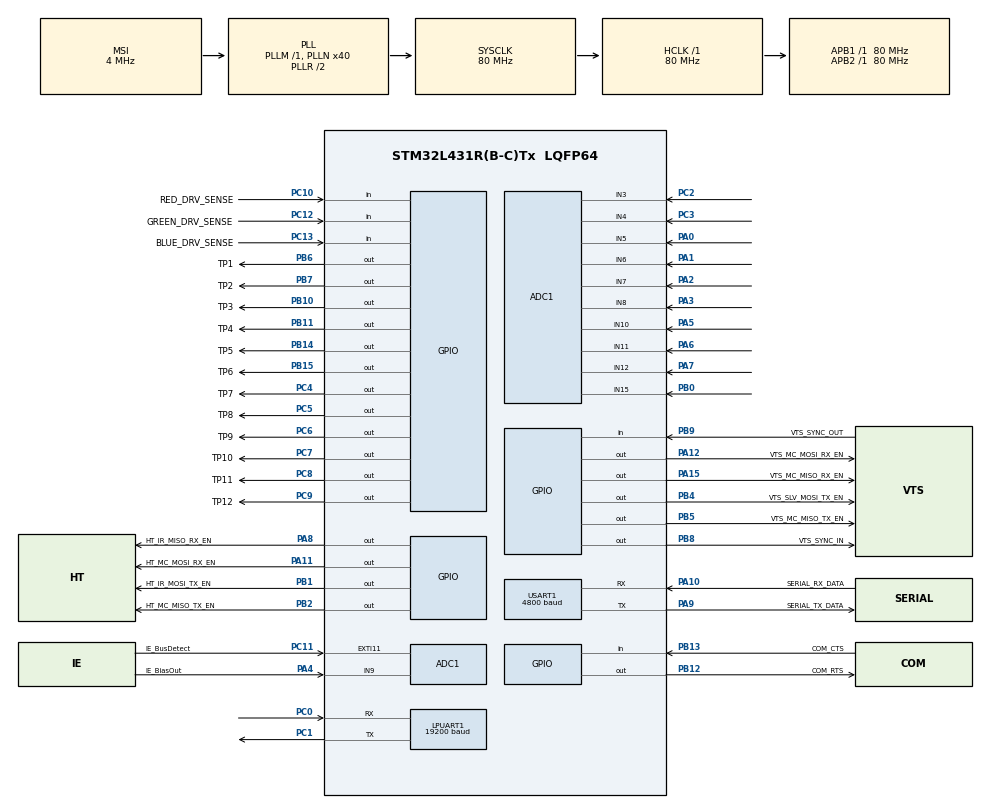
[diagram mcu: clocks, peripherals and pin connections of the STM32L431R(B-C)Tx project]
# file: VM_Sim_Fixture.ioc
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ADC1.Channel-0\#ChannelRegularConversion=ADC_CHANNEL_VBAT
ADC1.ClockPrescaler=ADC_CLOCK_ASYNC_DIV6
ADC1.ContinuousConvMode=ENABLE
ADC1.DMAContinuousRequests=DISABLE
ADC1.EOCSelection=ADC_EOC_SEQ_CONV
ADC1.NbrOfConversion=1
ADC1.NbrOfConversionFlag=1
ADC1.OffsetNumber-0\#ChannelRegularConversion=ADC_OFFSET_NONE
ADC1.Overrun=ADC_OVR_DATA_OVERWRITTEN
ADC1.Rank-0\#ChannelRegularConversion=1
ADC1.SamplingTime-0\#ChannelRegularConversion=ADC_SAMPLETIME_640CYCLES_5
ADC1.master=1
Dma.ADC1.4.Direction=DMA_PERIPH_TO_MEMORY
Dma.ADC1.4.Instance=DMA1_Channel1
Dma.ADC1.4.MemDataAlignment=DMA_MDATAALIGN_HALFWORD
Dma.ADC1.4.MemInc=DMA_MINC_ENABLE
Dma.ADC1.4.Mode=DMA_NORMAL
Dma.ADC1.4.PeriphDataAlignment=DMA_PDATAALIGN_HALFWORD
Dma.ADC1.4.PeriphInc=DMA_PINC_DISABLE
Dma.ADC1.4.Priority=DMA_PRIORITY_LOW
Dma.LPUART_RX.1.Direction=DMA_PERIPH_TO_MEMORY
Dma.LPUART_RX.1.Instance=DMA2_Channel7
Dma.LPUART_RX.1.MemDataAlignment=DMA_MDATAALIGN_BYTE
Dma.LPUART_RX.1.MemInc=DMA_MINC_ENABLE
Dma.LPUART_RX.1.Mode=DMA_CIRCULAR
Dma.LPUART_RX.1.PeriphDataAlignment=DMA_PDATAALIGN_BYTE
Dma.LPUART_RX.1.PeriphInc=DMA_PINC_DISABLE
Dma.LPUART_RX.1.Priority=DMA_PRIORITY_LOW
Dma.LPUART_TX.2.Direction=DMA_MEMORY_TO_PERIPH
Dma.LPUART_TX.2.Instance=DMA2_Channel6
Dma.LPUART_TX.2.MemDataAlignment=DMA_MDATAALIGN_BYTE
Dma.LPUART_TX.2.MemInc=DMA_MINC_ENABLE
Dma.LPUART_TX.2.Mode=DMA_NORMAL
Dma.LPUART_TX.2.PeriphDataAlignment=DMA_PDATAALIGN_BYTE
Dma.LPUART_TX.2.PeriphInc=DMA_PINC_DISABLE
Dma.LPUART_TX.2.Priority=DMA_PRIORITY_LOW
Dma.Request0=USART1_TX
Dma.Request1=LPUART_RX
Dma.Request2=LPUART_TX
Dma.Request3=USART1_RX
Dma.Request4=ADC1
Dma.USART1_RX.3.Direction=DMA_PERIPH_TO_MEMORY
Dma.USART1_RX.3.Instance=DMA1_Channel5
Dma.USART1_RX.3.MemDataAlignment=DMA_MDATAALIGN_BYTE
Dma.USART1_RX.3.MemInc=DMA_MINC_ENABLE
Dma.USART1_RX.3.Mode=DMA_NORMAL
Dma.USART1_RX.3.PeriphDataAlignment=DMA_PDATAALIGN_BYTE
Dma.USART1_RX.3.PeriphInc=DMA_PINC_DISABLE
Dma.USART1_RX.3.Priority=DMA_PRIORITY_LOW
Dma.USART1_TX.0.Direction=DMA_MEMORY_TO_PERIPH
Dma.USART1_TX.0.Instance=DMA1_Channel4
Dma.USART1_TX.0.MemDataAlignment=DMA_MDATAALIGN_BYTE
Dma.USART1_TX.0.MemInc=DMA_MINC_ENABLE
Dma.USART1_TX.0.Mode=DMA_NORMAL
Dma.USART1_TX.0.PeriphDataAlignment=DMA_PDATAALIGN_BYTE
Dma.USART1_TX.0.PeriphInc=DMA_PINC_DISABLE
Dma.USART1_TX.0.Priority=DMA_PRIORITY_LOW
FREERTOS.Tasks01=protocolTask,24,400,StartProtocolTask,Default,NULL,Dynamic,NULL,NULL;frameTask,24,400,StartFrameTask,Default,NULL,Dynamic,NULL,NULL
FREERTOS.configMINIMAL_STACK_SIZE=400
FREERTOS.configTOTAL_HEAP_SIZE=5000
FREERTOS.configUSE_NEWLIB_REENTRANT=1
LPUART1.BaudRate=19200
LPUART1.Parity=UART_PARITY_EVEN
LPUART1.WordLength=UART_WORDLENGTH_9B
Mcu.Family=STM32L4
Mcu.Name=STM32L431R(B-C)Tx
Mcu.Package=LQFP64
NVIC.ADC1_IRQn=true\:5\:0\:false\:false\:true\:true\:true\:true\:true
NVIC.DMA1_Channel1_IRQn=true\:5\:0\:false\:false\:true\:true\:false\:true\:true
NVIC.DMA1_Channel4_IRQn=true\:5\:0\:false\:false\:true\:true\:false\:true\:true
NVIC.DMA1_Channel5_IRQn=true\:5\:0\:false\:false\:true\:true\:false\:true\:true
NVIC.DMA2_Channel6_IRQn=true\:5\:0\:false\:false\:true\:true\:false\:true\:true
NVIC.DMA2_Channel7_IRQn=true\:5\:0\:false\:false\:true\:true\:false\:true\:true
NVIC.LPUART1_IRQn=true\:5\:0\:false\:false\:true\:true\:true\:true\:true
NVIC.PriorityGroup=NVIC_PRIORITYGROUP_4
NVIC.TIM1_BRK_TIM15_IRQn=true\:5\:0\:false\:false\:true\:true\:true\:true\:true
NVIC.TIM2_IRQn=true\:5\:0\:true\:false\:true\:true\:true\:true\:true
NVIC.TIM6_DAC_IRQn=true\:5\:0\:false\:false\:true\:true\:true\:true\:true
NVIC.TIM7_IRQn=true\:15\:0\:false\:false\:true\:false\:false\:true\:true
NVIC.TimeBase=TIM7_IRQn
NVIC.TimeBaseIP=TIM7
NVIC.USART1_IRQn=true\:5\:0\:false\:false\:true\:true\:true\:true\:true
PA0.Signal=ADCx_IN5
PA1.Signal=ADCx_IN6
PA10.GPIO_Label=SERIAL_RX_DATA
PA10.Mode=Asynchronous
PA10.Signal=USART1_RX
PA11.GPIO_Label=HT_MC_MOSI_RX_EN
PA11.Signal=GPIO_Output
PA12.GPIO_Label=VTS_MC_MOSI_RX_EN
PA12.GPIO_ModeDefaultOutputPP=GPIO_MODE_OUTPUT_PP
PA12.GPIO_PuPd=GPIO_NOPULL
PA12.GPIO_Speed=GPIO_SPEED_FREQ_MEDIUM
PA12.PinState=GPIO_PIN_SET
PA12.Signal=GPIO_Output
PA13\ (JTMS-SWDIO).Mode=Trace_Asynchronous_SW
PA13\ (JTMS-SWDIO).Signal=SYS_JTMS-SWDIO
PA14\ (JTCK-SWCLK).Mode=Trace_Asynchronous_SW
PA14\ (JTCK-SWCLK).Signal=SYS_JTCK-SWCLK
PA15\ (JTDI).GPIO_Label=VTS_MC_MISO_RX_EN
PA15\ (JTDI).Signal=GPIO_Output
PA2.Signal=ADCx_IN7
PA3.Signal=ADCx_IN8
PA4.GPIO_Label=IE_BiasOut
PA4.Signal=SharedAnalog_PA4
PA5.Signal=ADCx_IN10
PA6.Signal=ADCx_IN11
PA7.Signal=ADCx_IN12
PA8.GPIO_Label=HT_IR_MISO_RX_EN
PA8.Signal=GPIO_Output
PA9.GPIO_Label=SERIAL_TX_DATA
PA9.Mode=Asynchronous
PA9.Signal=USART1_TX
PB0.Signal=ADCx_IN15
PB1.GPIO_Label=HT_IR_MOSI_TX_EN
PB1.Signal=GPIO_Output
PB10.GPIO_Label=TP3
PB10.GPIO_ModeDefaultOutputPP=GPIO_MODE_OUTPUT_PP
PB10.PinState=GPIO_PIN_SET
PB10.Signal=GPIO_Output
PB11.GPIO_Label=TP4
PB11.GPIO_ModeDefaultOutputPP=GPIO_MODE_OUTPUT_PP
PB11.PinState=GPIO_PIN_SET
PB11.Signal=GPIO_Output
PB12.GPIO_Label=COM_RTS
PB12.GPIO_ModeDefaultOutputPP=GPIO_MODE_OUTPUT_PP
PB12.PinState=GPIO_PIN_SET
PB12.Signal=GPIO_Output
PB13.GPIO_Label=COM_CTS
PB13.Signal=GPIO_Input
PB14.GPIO_Label=TP5
PB14.GPIO_ModeDefaultOutputPP=GPIO_MODE_OUTPUT_PP
PB14.PinState=GPIO_PIN_SET
PB14.Signal=GPIO_Output
PB15.GPIO_Label=TP6
PB15.GPIO_ModeDefaultOutputPP=GPIO_MODE_OUTPUT_PP
PB15.PinState=GPIO_PIN_SET
PB15.Signal=GPIO_Output
PB2.GPIO_Label=HT_MC_MISO_TX_EN
PB2.Signal=GPIO_Output
PB3\ (JTDO-TRACESWO).Mode=Trace_Asynchronous_SW
PB3\ (JTDO-TRACESWO).Signal=SYS_JTDO-SWO
PB4\ (NJTRST).GPIO_Label=VTS_SLV_MOSI_TX_EN
PB4\ (NJTRST).Signal=GPIO_Output
PB5.GPIO_Label=VTS_MC_MISO_TX_EN
PB5.Signal=GPIO_Output
PB6.GPIO_Label=TP1
PB6.GPIO_ModeDefaultOutputPP=GPIO_MODE_OUTPUT_PP
PB6.PinState=GPIO_PIN_SET
PB6.Signal=GPIO_Output
PB7.GPIO_Label=TP2
PB7.GPIO_ModeDefaultOutputPP=GPIO_MODE_OUTPUT_PP
PB7.PinState=GPIO_PIN_SET
PB7.Signal=GPIO_Output
PB8.GPIO_Label=VTS_SYNC_IN
PB8.Signal=GPIO_Output
PB9.GPIO_Label=VTS_SYNC_OUT
PB9.Signal=GPIO_Input
PC0.Mode=Asynchronous
PC0.Signal=LPUART1_RX
PC1.GPIO_PuPd=GPIO_NOPULL
PC1.Mode=Asynchronous
PC1.Signal=LPUART1_TX
PC10.GPIO_Label=RED_DRV_SENSE
PC10.Signal=GPIO_Input
PC11.GPIO_Label=IE_BusDetect
PC11.Signal=GPXTI11
PC12.GPIO_Label=GREEN_DRV_SENSE
PC12.Signal=GPIO_Input
PC13.GPIO_Label=BLUE_DRV_SENSE
PC13.Signal=GPIO_Input
PC14-OSC32_IN\ (PC14).Mode=LSE-External-Oscillator
PC14-OSC32_IN\ (PC14).Signal=RCC_OSC32_IN
PC15-OSC32_OUT\ (PC15).Mode=LSE-External-Oscillator
PC15-OSC32_OUT\ (PC15).Signal=RCC_OSC32_OUT
PC2.Signal=ADCx_IN3
PC3.Signal=ADCx_IN4
PC4.GPIO_Label=TP7
PC4.GPIO_ModeDefaultOutputPP=GPIO_MODE_OUTPUT_PP
PC4.PinState=GPIO_PIN_SET
PC4.Signal=GPIO_Output
PC5.GPIO_Label=TP8
PC5.GPIO_ModeDefaultOutputPP=GPIO_MODE_OUTPUT_PP
PC5.PinState=GPIO_PIN_SET
PC5.Signal=GPIO_Output
PC6.GPIO_Label=TP9
PC6.GPIO_ModeDefaultOutputPP=GPIO_MODE_OUTPUT_PP
PC6.GPIO_PuPd=GPIO_NOPULL
PC6.PinState=GPIO_PIN_SET
PC6.Signal=GPIO_Output
PC7.GPIO_Label=TP10
PC7.GPIO_ModeDefaultOutputPP=GPIO_MODE_OUTPUT_PP
PC7.GPIO_PuPd=GPIO_NOPULL
PC7.PinState=GPIO_PIN_SET
PC7.Signal=GPIO_Output
PC8.GPIO_Label=TP11
PC8.GPIO_ModeDefaultOutputPP=GPIO_MODE_OUTPUT_PP
PC8.GPIO_PuPd=GPIO_NOPULL
PC8.PinState=GPIO_PIN_SET
PC8.Signal=GPIO_Output
PC9.GPIO_Label=TP12
PC9.GPIO_ModeDefaultOutputPP=GPIO_MODE_OUTPUT_PP
PC9.GPIO_PuPd=GPIO_NOPULL
PC9.PinState=GPIO_PIN_SET
PC9.Signal=GPIO_Output
ProjectManager.HeapSize=0x200
ProjectManager.StackSize=0x400
ProjectManager.TargetToolchain=STM32CubeIDE
RCC.ADCFreq_Value=8000000
RCC.AHBFreq_Value=80000000
RCC.APB1Freq_Value=80000000
RCC.APB1TimFreq_Value=80000000
RCC.APB2Freq_Value=80000000
RCC.APB2TimFreq_Value=80000000
RCC.CortexFreq_Value=80000000
RCC.HCLKFreq_Value=80000000
RCC.HSE_VALUE=8000000
RCC.HSI48_VALUE=48000000
RCC.HSI_VALUE=16000000
RCC.LPUART1CLockSelection=RCC_LPUART1CLKSOURCE_HSI
RCC.MSIAutoCalibration=DISABLED
RCC.MSI_VALUE=4000000
RCC.PLLN=40
RCC.PLLSAI1N=16
RCC.PLLSAI1R=RCC_PLLR_DIV8
RCC.RTCClockSelection=RCC_RTCCLKSOURCE_LSE
RCC.SYSCLKFreq_VALUE=80000000
RCC.SYSCLKSource=RCC_SYSCLKSOURCE_PLLCLK
RCC.VCOOutputFreq_Value=160000000
SH.ADCx_IN10.0=ADC1_IN10,IN10-Single-Ended
SH.ADCx_IN11.0=ADC1_IN11,IN11-Single-Ended
SH.ADCx_IN12.0=ADC1_IN12,IN12-Single-Ended
SH.ADCx_IN15.0=ADC1_IN15,IN15-Single-Ended
SH.ADCx_IN3.0=ADC1_IN3,IN3-Differential
SH.ADCx_IN4.0=ADC1_IN4,IN3-Differential
SH.ADCx_IN5.0=ADC1_IN5,IN5-Single-Ended
SH.ADCx_IN6.0=ADC1_IN6,IN6-Single-Ended
SH.ADCx_IN7.0=ADC1_IN7,IN7-Single-Ended
SH.ADCx_IN8.0=ADC1_IN8,IN8-Single-Ended
SH.SharedAnalog_PA4.0=ADC1_IN9,IN9-Single-Ended
SH.SharedAnalog_PA4.1=DAC1_OUT1,DAC_OUT1
TIM1.AutoReloadPreload=TIM_AUTORELOAD_PRELOAD_ENABLE
TIM1.Period=800
TIM15.AutoReloadPreload=TIM_AUTORELOAD_PRELOAD_ENABLE
TIM15.Period=18000
TIM15.Prescaler=80
TIM2.AutoReloadPreload=TIM_AUTORELOAD_PRELOAD_DISABLE
TIM2.Period=0xffffffff
TIM2.Prescaler=80
TIM2.TIM_MasterSlaveMode=TIM_MASTERSLAVEMODE_DISABLE
TIM6.Prescaler=244
USART1.BaudRate=4800
USART1.Parity=PARITY_EVEN
USART1.SwapParam=ADVFEATURE_SWAP_ENABLE
USART1.VirtualMode-Asynchronous=VM_ASYNC
USART1.WordLength=WORDLENGTH_9B
VP_ADC1_Vbat_Input.Mode=IN-Vbat
VP_FREERTOS_VS_CMSIS_V2.Mode=CMSIS_V2
VP_RTC_VS_RTC_Activate.Mode=RTC_Enabled
VP_SYS_VS_tim7.Mode=TIM7
VP_SYS_V_PVD_IN.Mode=Mode_PVD_Int
VP_TIM15_VS_ClockSourceINT.Mode=Internal
VP_TIM1_VS_ClockSourceINT.Mode=Internal
VP_TIM2_VS_ClockSourceINT.Mode=Internal
VP_TIM6_VS_ClockSourceINT.Mode=Enable_Timer
board=custom

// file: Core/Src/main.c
/* USER CODE BEGIN Header */
/**
  ******************************************************************************
  * @file           : main.c
  * @brief          : Main program body
  ******************************************************************************
  * @attention
  *
  * <h2><center>&copy; Copyright (c) 2022 STMicroelectronics.
  * All rights reserved.</center></h2>
  *
  * This software component is licensed by ST under BSD 3-Clause license,
  * the "License"; You may not use this file except in compliance with the
  * License. You may obtain a copy of the License at:
  *                        opensource.org/licenses/BSD-3-Clause
  *
  ******************************************************************************
  */
/* USER CODE END Header */
#include "main.h"
#include "cmsis_os.h"

/* USER CODE BEGIN Includes */
#include "adc.h"
#include "ticks.h"
#include "version.h"
#include "command.h"
#include "mux.h"
#include "serial.h"
#include "response.h"
#include <string.h>
/* USER CODE END Includes */

/* USER CODE BEGIN PTD */

#if 0
#define TP_SET(pin){ tp_Set((pin)); }
#define TP_RESET(pin){ tp_Reset((pin)); }
#else
#define TP_SET(pin){  }
#define TP_RESET(pin){  }
#endif

/* USER CODE END PTD */

ADC_HandleTypeDef hadc1;
DMA_HandleTypeDef hdma_adc1;

DAC_HandleTypeDef hdac1;

UART_HandleTypeDef hlpuart1;
UART_HandleTypeDef huart1;
DMA_HandleTypeDef hdma_lpuart_rx;
DMA_HandleTypeDef hdma_lpuart_tx;
DMA_HandleTypeDef hdma_usart1_tx;
DMA_HandleTypeDef hdma_usart1_rx;

RTC_HandleTypeDef hrtc;

TIM_HandleTypeDef htim1;
TIM_HandleTypeDef htim2;
TIM_HandleTypeDef htim6;
TIM_HandleTypeDef htim15;

/* Definitions for protocolTask */
osThreadId_t protocolTaskHandle;
const osThreadAttr_t protocolTask_attributes = {
  .name = "protocolTask",
  .stack_size = 400 * 4,
  .priority = (osPriority_t) osPriorityNormal,
};
/* Definitions for frameTask */
osThreadId_t frameTaskHandle;
const osThreadAttr_t frameTask_attributes = {
  .name = "frameTask",
  .stack_size = 400 * 4,
  .priority = (osPriority_t) osPriorityNormal,
};
/* USER CODE BEGIN PV */
#define COM_INIT_TIMEOUT 300
// static bool com_initialized = false;
// static ACTIVITY_TIMER com_init_activity;

/* USER CODE END PV */

void SystemClock_Config(void);
static void MX_GPIO_Init(void);
static void MX_DMA_Init(void);
static void MX_USART1_UART_Init(void);
static void MX_TIM1_Init(void);
static void MX_TIM2_Init(void);
static void MX_TIM15_Init(void);
static void MX_LPUART1_UART_Init(void);
static void MX_RTC_Init(void);
static void MX_ADC1_Init(void);
static void MX_TIM6_Init(void);
static void MX_DAC1_Init(void);
void StartResponseServiceTask(void *argument);
void StartCommandServiceTask(void *argument);

/* USER CODE BEGIN 0 */
// this is a hack on STMCubeMX generated code for alternating using LPUART1 as gpio
__weak void EXTI0_IRQHandler(void){
  HAL_GPIO_EXTI_IRQHandler(GPIO_PIN_0);
}

__weak void EXTI9_5_IRQHandler(void)
{
    HAL_GPIO_EXTI_IRQHandler(GPIO_PIN_9);
}

void HAL_GPIO_EXTI_Callback(uint16_t GPIO_Pin)
{
    if (GPIO_Pin == GPIO_PIN_9)
    {
      ser_gpio_edge_callback(GPIO_Pin);
    }
}

// this a a Hack to handel distrbuting this gloabl to various consumers
void HAL_UART_ErrorCallback(UART_HandleTypeDef *huart){
	if(huart == &hlpuart1){
		cmd_handle_uart_error();
    resp_handle_uart_error();
	}
  else if(huart == &huart1){
    ser_handle_uart_error();
  }

}

void HAL_UART_TxCpltCallback(UART_HandleTypeDef *huart){
	if(huart == &hlpuart1){
    cmd_handle_uart_complete();
    resp_handle_uart_complete();
	}
  else if(huart == &huart1){
    ser_handle_uart_complete();
	}

}

uint8_t current_led_state = 0;

int protocol_high_water = -1;
int frame_high_water = -1;

void queryStackDepth(){
	TP_SET(TP11);
    protocol_high_water = uxTaskGetStackHighWaterMark(protocolTaskHandle);
    frame_high_water = uxTaskGetStackHighWaterMark(frameTaskHandle);
	TP_RESET(TP11);
}

void WaitAdcReady(ADC_HandleTypeDef* hadc){
  // Wait for the calibration to complete (blocking) or timeout
  ACTIVITY_TIMER waitReady;
  activity_initialize(&waitReady, 10);

	while (HAL_ADC_GetState(hadc) != HAL_ADC_STATE_READY)
  {
    if(activity_isExpired(&waitReady)){
      TP_SET(TP12);
      TP_RESET(TP12);
      break;
    }

  }
}

/* USER CODE END 0 */

int main(void)
{

  /* MCU Configuration--------------------------------------------------------*/

  /* Reset of all peripherals, Initializes the Flash interface and the Systick. */
  HAL_Init();

  /* Configure the system clock */
  SystemClock_Config();

  /* Initialize all configured peripherals */
  MX_GPIO_Init();
  MX_DMA_Init();
  MX_USART1_UART_Init();
  MX_TIM1_Init();
  MX_TIM2_Init();
  MX_TIM15_Init();
  MX_LPUART1_UART_Init();
  MX_RTC_Init();
  MX_ADC1_Init();
  MX_TIM6_Init();
  MX_DAC1_Init();
  /* USER CODE BEGIN 2 */
  TP_SET(TP10);
  /* USER CODE END 2 */

  /* Init scheduler */
  osKernelInitialize();

  /* Create the thread(s) */
  /* creation of protocolTask */
  protocolTaskHandle = osThreadNew(StartResponseServiceTask, NULL, &protocolTask_attributes);

  /* creation of frameTask */
  frameTaskHandle = osThreadNew(StartCommandServiceTask, NULL, &frameTask_attributes);

  /* Start scheduler */
  osKernelStart();

  /* We should never get here as control is now taken by the scheduler */
  /* Infinite loop */
  while (1)
  {

  }
}

void SystemClock_Config(void)
{
  RCC_OscInitTypeDef RCC_OscInitStruct = {0};
  RCC_ClkInitTypeDef RCC_ClkInitStruct = {0};

  /** Configure the main internal regulator output voltage
  */
  if (HAL_PWREx_ControlVoltageScaling(PWR_REGULATOR_VOLTAGE_SCALE1) != HAL_OK)
  {
    Error_Handler();
  }

  /** Configure LSE Drive Capability
  */
  HAL_PWR_EnableBkUpAccess();
  __HAL_RCC_LSEDRIVE_CONFIG(RCC_LSEDRIVE_LOW);

  /** Initializes the RCC Oscillators according to the specified parameters
  * in the RCC_OscInitTypeDef structure.
  */
  RCC_OscInitStruct.OscillatorType = RCC_OSCILLATORTYPE_HSI|RCC_OSCILLATORTYPE_LSE
                              |RCC_OSCILLATORTYPE_MSI;
  RCC_OscInitStruct.LSEState = RCC_LSE_ON;
  RCC_OscInitStruct.HSIState = RCC_HSI_ON;
  RCC_OscInitStruct.HSICalibrationValue = RCC_HSICALIBRATION_DEFAULT;
  RCC_OscInitStruct.MSIState = RCC_MSI_ON;
  RCC_OscInitStruct.MSICalibrationValue = 0;
  RCC_OscInitStruct.MSIClockRange = RCC_MSIRANGE_6;
  RCC_OscInitStruct.PLL.PLLState = RCC_PLL_ON;
  RCC_OscInitStruct.PLL.PLLSource = RCC_PLLSOURCE_MSI;
  RCC_OscInitStruct.PLL.PLLM = 1;
  RCC_OscInitStruct.PLL.PLLN = 40;
  RCC_OscInitStruct.PLL.PLLP = RCC_PLLP_DIV7;
  RCC_OscInitStruct.PLL.PLLQ = RCC_PLLQ_DIV2;
  RCC_OscInitStruct.PLL.PLLR = RCC_PLLR_DIV2;
  if (HAL_RCC_OscConfig(&RCC_OscInitStruct) != HAL_OK)
  {
    Error_Handler();
  }

  /** Initializes the CPU, AHB and APB buses clocks
  */
  RCC_ClkInitStruct.ClockType = RCC_CLOCKTYPE_HCLK|RCC_CLOCKTYPE_SYSCLK
                              |RCC_CLOCKTYPE_PCLK1|RCC_CLOCKTYPE_PCLK2;
  RCC_ClkInitStruct.SYSCLKSource = RCC_SYSCLKSOURCE_PLLCLK;
  RCC_ClkInitStruct.AHBCLKDivider = RCC_SYSCLK_DIV1;
  RCC_ClkInitStruct.APB1CLKDivider = RCC_HCLK_DIV1;
  RCC_ClkInitStruct.APB2CLKDivider = RCC_HCLK_DIV1;

  if (HAL_RCC_ClockConfig(&RCC_ClkInitStruct, FLASH_LATENCY_4) != HAL_OK)
  {
    Error_Handler();
  }
}

static void MX_ADC1_Init(void)
{

  ADC_ChannelConfTypeDef sConfig = {0};

  /** Common config
  */
  hadc1.Instance = ADC1;
  hadc1.Init.ClockPrescaler = ADC_CLOCK_ASYNC_DIV6;
  hadc1.Init.Resolution = ADC_RESOLUTION_12B;
  hadc1.Init.DataAlign = ADC_DATAALIGN_RIGHT;
  hadc1.Init.ScanConvMode = ADC_SCAN_DISABLE;
  hadc1.Init.EOCSelection = ADC_EOC_SEQ_CONV;
  hadc1.Init.LowPowerAutoWait = DISABLE;
  hadc1.Init.ContinuousConvMode = ENABLE;
  hadc1.Init.NbrOfConversion = 1;
  hadc1.Init.DiscontinuousConvMode = DISABLE;
  hadc1.Init.ExternalTrigConv = ADC_EXTERNALTRIG_EXT_IT11;
  hadc1.Init.ExternalTrigConvEdge = ADC_EXTERNALTRIGCONVEDGE_RISING;
  hadc1.Init.DMAContinuousRequests = DISABLE;
  hadc1.Init.Overrun = ADC_OVR_DATA_OVERWRITTEN;
  hadc1.Init.OversamplingMode = DISABLE;
  if (HAL_ADC_Init(&hadc1) != HAL_OK)
  {
    Error_Handler();
  }

  /** Configure Regular Channel
  */
  sConfig.Channel = ADC_CHANNEL_VBAT;
  sConfig.Rank = ADC_REGULAR_RANK_1;
  sConfig.SamplingTime = ADC_SAMPLETIME_640CYCLES_5;
  sConfig.SingleDiff = ADC_SINGLE_ENDED;
  sConfig.OffsetNumber = ADC_OFFSET_NONE;
  sConfig.Offset = 0;
  if (HAL_ADC_ConfigChannel(&hadc1, &sConfig) != HAL_OK)
  {
    Error_Handler();
  }
  /* USER CODE BEGIN ADC1_Init 2 */

  //HAL_ADC_MspInit(&hadc1);
  //HAL_ADC_Start(&hadc1);
  //ADC1_COMMON->CCR = 0x00;

  if (HAL_ADCEx_Calibration_Start(&hadc1, ADC_SINGLE_ENDED) != HAL_OK)
  {
    Error_Handler();
  }
  WaitAdcReady(&hadc1);

  if (HAL_ADCEx_Calibration_Start(&hadc1, ADC_SINGLE_ENDED) != HAL_OK)
  {
    Error_Handler();
  }
  WaitAdcReady(&hadc1);

  /* USER CODE END ADC1_Init 2 */

}

static void MX_DAC1_Init(void)
{

  DAC_ChannelConfTypeDef sConfig = {0};

  /** DAC Initialization
  */
  hdac1.Instance = DAC1;
  if (HAL_DAC_Init(&hdac1) != HAL_OK)
  {
    Error_Handler();
  }

  /** DAC channel OUT1 config
  */
  sConfig.DAC_SampleAndHold = DAC_SAMPLEANDHOLD_DISABLE;
  sConfig.DAC_Trigger = DAC_TRIGGER_NONE;
  sConfig.DAC_OutputBuffer = DAC_OUTPUTBUFFER_ENABLE;
  sConfig.DAC_ConnectOnChipPeripheral = DAC_CHIPCONNECT_DISABLE;
  sConfig.DAC_UserTrimming = DAC_TRIMMING_FACTORY;
  if (HAL_DAC_ConfigChannel(&hdac1, &sConfig, DAC_CHANNEL_1) != HAL_OK)
  {
    Error_Handler();
  }
  /* USER CODE BEGIN DAC1_Init 2 */

  if (HAL_DAC_Start(&hdac1, DAC_CHANNEL_1) != HAL_OK)
  {
    // Starting DAC channel Error
    Error_Handler();
  }

  /* USER CODE END DAC1_Init 2 */

}

static void MX_LPUART1_UART_Init(void)
{

  hlpuart1.Instance = LPUART1;
  hlpuart1.Init.BaudRate = 19200;
  hlpuart1.Init.WordLength = UART_WORDLENGTH_9B;
  hlpuart1.Init.StopBits = UART_STOPBITS_1;
  hlpuart1.Init.Parity = UART_PARITY_EVEN;
  hlpuart1.Init.Mode = UART_MODE_TX_RX;
  hlpuart1.Init.HwFlowCtl = UART_HWCONTROL_NONE;
  hlpuart1.Init.OneBitSampling = UART_ONE_BIT_SAMPLE_DISABLE;
  hlpuart1.AdvancedInit.AdvFeatureInit = UART_ADVFEATURE_NO_INIT;
  if (HAL_UART_Init(&hlpuart1) != HAL_OK)
  {
    Error_Handler();
  }

}

static void MX_USART1_UART_Init(void)
{

  huart1.Instance = USART1;
  huart1.Init.BaudRate = 4800;
  huart1.Init.WordLength = UART_WORDLENGTH_9B;
  huart1.Init.StopBits = UART_STOPBITS_1;
  huart1.Init.Parity = UART_PARITY_EVEN;
  huart1.Init.Mode = UART_MODE_TX_RX;
  huart1.Init.HwFlowCtl = UART_HWCONTROL_NONE;
  huart1.Init.OverSampling = UART_OVERSAMPLING_16;
  huart1.Init.OneBitSampling = UART_ONE_BIT_SAMPLE_DISABLE;
  huart1.AdvancedInit.AdvFeatureInit = UART_ADVFEATURE_SWAP_INIT;
  huart1.AdvancedInit.Swap = UART_ADVFEATURE_SWAP_ENABLE;
  if (HAL_UART_Init(&huart1) != HAL_OK)
  {
    Error_Handler();
  }

}

static void MX_RTC_Init(void)
{

  /** Initialize RTC Only
  */
  hrtc.Instance = RTC;
  hrtc.Init.HourFormat = RTC_HOURFORMAT_24;
  hrtc.Init.AsynchPrediv = 127;
  hrtc.Init.SynchPrediv = 255;
  hrtc.Init.OutPut = RTC_OUTPUT_DISABLE;
  hrtc.Init.OutPutRemap = RTC_OUTPUT_REMAP_NONE;
  hrtc.Init.OutPutPolarity = RTC_OUTPUT_POLARITY_HIGH;
  hrtc.Init.OutPutType = RTC_OUTPUT_TYPE_OPENDRAIN;
  if (HAL_RTC_Init(&hrtc) != HAL_OK)
  {
    Error_Handler();
  }

}

static void MX_TIM1_Init(void)
{

  TIM_ClockConfigTypeDef sClockSourceConfig = {0};
  TIM_MasterConfigTypeDef sMasterConfig = {0};

  htim1.Instance = TIM1;
  htim1.Init.Prescaler = 0;
  htim1.Init.CounterMode = TIM_COUNTERMODE_UP;
  htim1.Init.Period = 800;
  htim1.Init.ClockDivision = TIM_CLOCKDIVISION_DIV1;
  htim1.Init.RepetitionCounter = 0;
  htim1.Init.AutoReloadPreload = TIM_AUTORELOAD_PRELOAD_ENABLE;
  if (HAL_TIM_Base_Init(&htim1) != HAL_OK)
  {
    Error_Handler();
  }
  sClockSourceConfig.ClockSource = TIM_CLOCKSOURCE_INTERNAL;
  if (HAL_TIM_ConfigClockSource(&htim1, &sClockSourceConfig) != HAL_OK)
  {
    Error_Handler();
  }
  sMasterConfig.MasterOutputTrigger = TIM_TRGO_RESET;
  sMasterConfig.MasterOutputTrigger2 = TIM_TRGO2_RESET;
  sMasterConfig.MasterSlaveMode = TIM_MASTERSLAVEMODE_DISABLE;
  if (HAL_TIMEx_MasterConfigSynchronization(&htim1, &sMasterConfig) != HAL_OK)
  {
    Error_Handler();
  }

}

static void MX_TIM2_Init(void)
{

  TIM_ClockConfigTypeDef sClockSourceConfig = {0};
  TIM_MasterConfigTypeDef sMasterConfig = {0};

  htim2.Instance = TIM2;
  htim2.Init.Prescaler = 80;
  htim2.Init.CounterMode = TIM_COUNTERMODE_UP;
  htim2.Init.Period = 0xffffffff;
  htim2.Init.ClockDivision = TIM_CLOCKDIVISION_DIV1;
  htim2.Init.AutoReloadPreload = TIM_AUTORELOAD_PRELOAD_DISABLE;
  if (HAL_TIM_Base_Init(&htim2) != HAL_OK)
  {
    Error_Handler();
  }
  sClockSourceConfig.ClockSource = TIM_CLOCKSOURCE_INTERNAL;
  if (HAL_TIM_ConfigClockSource(&htim2, &sClockSourceConfig) != HAL_OK)
  {
    Error_Handler();
  }
  sMasterConfig.MasterOutputTrigger = TIM_TRGO_RESET;
  sMasterConfig.MasterSlaveMode = TIM_MASTERSLAVEMODE_DISABLE;
  if (HAL_TIMEx_MasterConfigSynchronization(&htim2, &sMasterConfig) != HAL_OK)
  {
    Error_Handler();
  }

}

static void MX_TIM6_Init(void)
{

  TIM_MasterConfigTypeDef sMasterConfig = {0};

  htim6.Instance = TIM6;
  htim6.Init.Prescaler = 244;
  htim6.Init.CounterMode = TIM_COUNTERMODE_UP;
  htim6.Init.Period = 65535;
  htim6.Init.AutoReloadPreload = TIM_AUTORELOAD_PRELOAD_DISABLE;
  if (HAL_TIM_Base_Init(&htim6) != HAL_OK)
  {
    Error_Handler();
  }
  sMasterConfig.MasterOutputTrigger = TIM_TRGO_RESET;
  sMasterConfig.MasterSlaveMode = TIM_MASTERSLAVEMODE_DISABLE;
  if (HAL_TIMEx_MasterConfigSynchronization(&htim6, &sMasterConfig) != HAL_OK)
  {
    Error_Handler();
  }

}

static void MX_TIM15_Init(void)
{

  TIM_ClockConfigTypeDef sClockSourceConfig = {0};
  TIM_MasterConfigTypeDef sMasterConfig = {0};

  htim15.Instance = TIM15;
  htim15.Init.Prescaler = 80;
  htim15.Init.CounterMode = TIM_COUNTERMODE_UP;
  htim15.Init.Period = 18000;
  htim15.Init.ClockDivision = TIM_CLOCKDIVISION_DIV1;
  htim15.Init.RepetitionCounter = 0;
  htim15.Init.AutoReloadPreload = TIM_AUTORELOAD_PRELOAD_ENABLE;
  if (HAL_TIM_Base_Init(&htim15) != HAL_OK)
  {
    Error_Handler();
  }
  sClockSourceConfig.ClockSource = TIM_CLOCKSOURCE_INTERNAL;
  if (HAL_TIM_ConfigClockSource(&htim15, &sClockSourceConfig) != HAL_OK)
  {
    Error_Handler();
  }
  sMasterConfig.MasterOutputTrigger = TIM_TRGO_RESET;
  sMasterConfig.MasterSlaveMode = TIM_MASTERSLAVEMODE_DISABLE;
  if (HAL_TIMEx_MasterConfigSynchronization(&htim15, &sMasterConfig) != HAL_OK)
  {
    Error_Handler();
  }

}

static void MX_DMA_Init(void)
{

  /* DMA controller clock enable */
  __HAL_RCC_DMA1_CLK_ENABLE();
  __HAL_RCC_DMA2_CLK_ENABLE();

  /* DMA interrupt init */
  /* DMA1_Channel1_IRQn interrupt configuration */
  HAL_NVIC_SetPriority(DMA1_Channel1_IRQn, 5, 0);
  HAL_NVIC_EnableIRQ(DMA1_Channel1_IRQn);
  /* DMA1_Channel4_IRQn interrupt configuration */
  HAL_NVIC_SetPriority(DMA1_Channel4_IRQn, 5, 0);
  HAL_NVIC_EnableIRQ(DMA1_Channel4_IRQn);
  /* DMA1_Channel5_IRQn interrupt configuration */
  HAL_NVIC_SetPriority(DMA1_Channel5_IRQn, 5, 0);
  HAL_NVIC_EnableIRQ(DMA1_Channel5_IRQn);
  /* DMA2_Channel6_IRQn interrupt configuration */
  HAL_NVIC_SetPriority(DMA2_Channel6_IRQn, 5, 0);
  HAL_NVIC_EnableIRQ(DMA2_Channel6_IRQn);
  /* DMA2_Channel7_IRQn interrupt configuration */
  HAL_NVIC_SetPriority(DMA2_Channel7_IRQn, 5, 0);
  HAL_NVIC_EnableIRQ(DMA2_Channel7_IRQn);

}

static void MX_GPIO_Init(void)
{
  GPIO_InitTypeDef GPIO_InitStruct = {0};

  /* GPIO Ports Clock Enable */
  __HAL_RCC_GPIOC_CLK_ENABLE();
  __HAL_RCC_GPIOA_CLK_ENABLE();
  __HAL_RCC_GPIOB_CLK_ENABLE();

  /*Configure GPIO pin Output Level */
  HAL_GPIO_WritePin(GPIOC, TP7_Pin|TP8_Pin|TP9_Pin|TP10_Pin
                          |TP11_Pin|TP12_Pin, GPIO_PIN_SET);

  /*Configure GPIO pin Output Level */
  HAL_GPIO_WritePin(GPIOB, HT_IR_MOSI_TX_EN_Pin|HT_MC_MISO_TX_EN_Pin|VTS_SLV_MOSI_TX_EN_Pin|VTS_MC_MISO_TX_EN_Pin
                          |VTS_SYNC_IN_Pin, GPIO_PIN_RESET);

  /*Configure GPIO pin Output Level */
  HAL_GPIO_WritePin(GPIOB, TP3_Pin|TP4_Pin|COM_RTS_Pin|TP5_Pin
                          |TP6_Pin|TP1_Pin|TP2_Pin, GPIO_PIN_SET);

  /*Configure GPIO pin Output Level */
  HAL_GPIO_WritePin(GPIOA, HT_IR_MISO_RX_EN_Pin|HT_MC_MOSI_RX_EN_Pin|VTS_MC_MISO_RX_EN_Pin, GPIO_PIN_RESET);

  /*Configure GPIO pin Output Level */
  HAL_GPIO_WritePin(VTS_MC_MOSI_RX_EN_GPIO_Port, VTS_MC_MOSI_RX_EN_Pin, GPIO_PIN_SET);

  /*Configure GPIO pins : BLUE_DRV_SENSE_Pin RED_DRV_SENSE_Pin GREEN_DRV_SENSE_Pin */
  GPIO_InitStruct.Pin = BLUE_DRV_SENSE_Pin|RED_DRV_SENSE_Pin|GREEN_DRV_SENSE_Pin;
  GPIO_InitStruct.Mode = GPIO_MODE_INPUT;
  GPIO_InitStruct.Pull = GPIO_NOPULL;
  HAL_GPIO_Init(GPIOC, &GPIO_InitStruct);

  /*Configure GPIO pins : TP7_Pin TP8_Pin TP9_Pin TP10_Pin
                           TP11_Pin TP12_Pin */
  GPIO_InitStruct.Pin = TP7_Pin|TP8_Pin|TP9_Pin|TP10_Pin
                          |TP11_Pin|TP12_Pin;
  GPIO_InitStruct.Mode = GPIO_MODE_OUTPUT_PP;
  GPIO_InitStruct.Pull = GPIO_NOPULL;
  GPIO_InitStruct.Speed = GPIO_SPEED_FREQ_LOW;
  HAL_GPIO_Init(GPIOC, &GPIO_InitStruct);

  /*Configure GPIO pins : HT_IR_MOSI_TX_EN_Pin HT_MC_MISO_TX_EN_Pin TP3_Pin TP4_Pin
                           COM_RTS_Pin TP5_Pin TP6_Pin VTS_SLV_MOSI_TX_EN_Pin
                           VTS_MC_MISO_TX_EN_Pin TP1_Pin TP2_Pin VTS_SYNC_IN_Pin */
  GPIO_InitStruct.Pin = HT_IR_MOSI_TX_EN_Pin|HT_MC_MISO_TX_EN_Pin|TP3_Pin|TP4_Pin
                          |COM_RTS_Pin|TP5_Pin|TP6_Pin|VTS_SLV_MOSI_TX_EN_Pin
                          |VTS_MC_MISO_TX_EN_Pin|TP1_Pin|TP2_Pin|VTS_SYNC_IN_Pin;
  GPIO_InitStruct.Mode = GPIO_MODE_OUTPUT_PP;
  GPIO_InitStruct.Pull = GPIO_NOPULL;
  GPIO_InitStruct.Speed = GPIO_SPEED_FREQ_LOW;
  HAL_GPIO_Init(GPIOB, &GPIO_InitStruct);

  /*Configure GPIO pins : COM_CTS_Pin VTS_SYNC_OUT_Pin */
  GPIO_InitStruct.Pin = COM_CTS_Pin|VTS_SYNC_OUT_Pin;
  GPIO_InitStruct.Mode = GPIO_MODE_INPUT;
  GPIO_InitStruct.Pull = GPIO_NOPULL;
  HAL_GPIO_Init(GPIOB, &GPIO_InitStruct);

  /*Configure GPIO pins : HT_IR_MISO_RX_EN_Pin HT_MC_MOSI_RX_EN_Pin VTS_MC_MISO_RX_EN_Pin */
  GPIO_InitStruct.Pin = HT_IR_MISO_RX_EN_Pin|HT_MC_MOSI_RX_EN_Pin|VTS_MC_MISO_RX_EN_Pin;
  GPIO_InitStruct.Mode = GPIO_MODE_OUTPUT_PP;
  GPIO_InitStruct.Pull = GPIO_NOPULL;
  GPIO_InitStruct.Speed = GPIO_SPEED_FREQ_LOW;
  HAL_GPIO_Init(GPIOA, &GPIO_InitStruct);

  /*Configure GPIO pin : VTS_MC_MOSI_RX_EN_Pin */
  GPIO_InitStruct.Pin = VTS_MC_MOSI_RX_EN_Pin;
  GPIO_InitStruct.Mode = GPIO_MODE_OUTPUT_PP;
  GPIO_InitStruct.Pull = GPIO_NOPULL;
  GPIO_InitStruct.Speed = GPIO_SPEED_FREQ_MEDIUM;
  HAL_GPIO_Init(VTS_MC_MOSI_RX_EN_GPIO_Port, &GPIO_InitStruct);

  /*Configure GPIO pin : IE_BusDetect_Pin */
  GPIO_InitStruct.Pin = IE_BusDetect_Pin;
  GPIO_InitStruct.Mode = GPIO_MODE_IT_RISING;
  GPIO_InitStruct.Pull = GPIO_NOPULL;
  HAL_GPIO_Init(IE_BusDetect_GPIO_Port, &GPIO_InitStruct);

}

/* USER CODE BEGIN 4 */
TEST_PIN get_pin_def(GPIO_TypeDef * base, uint16_t pin){
  return (TEST_PIN) {
    .base = base,
    .pin = pin
  };

}

void tp_Set(TEST_PIN pin){
	HAL_GPIO_WritePin(pin.base, pin.pin, GPIO_PIN_RESET);
}

void tp_Reset(TEST_PIN pin){
	HAL_GPIO_WritePin(pin.base, pin.pin, GPIO_PIN_SET);
}

void tp_Toggle(TEST_PIN pin){
	HAL_GPIO_TogglePin(pin.base, pin.pin);
}

/* USER CODE END 4 */

void StartResponseServiceTask(void *argument)
{
  /* USER CODE BEGIN 5 */
  response_initialize();

	while(1){
    TP_SET(TP9);
    response_serviceSend();
    osDelay(1);

    TP_RESET(TP9);
	}
  /* USER CODE END 5 */
}

void StartCommandServiceTask(void *argument)
{
  /* USER CODE BEGIN StartFrameTask */
  TP_SET(TP10);
  mux_initialize();
  cmd_init_interface();
  ser_initialize();

  /* Infinite loop */
  for(;;)
  {
    TP_SET(TP10);
    cmd_service();
    osDelay(1);
    TP_RESET(TP10);
  }
  /* USER CODE END StartFrameTask */
}

void HAL_TIM_PeriodElapsedCallback(TIM_HandleTypeDef *htim)
{
  if (htim->Instance == TIM7) {
    HAL_IncTick();
  }
}

void Error_Handler(void)
{
  __disable_irq();
  while (1)
  {
  }
}
